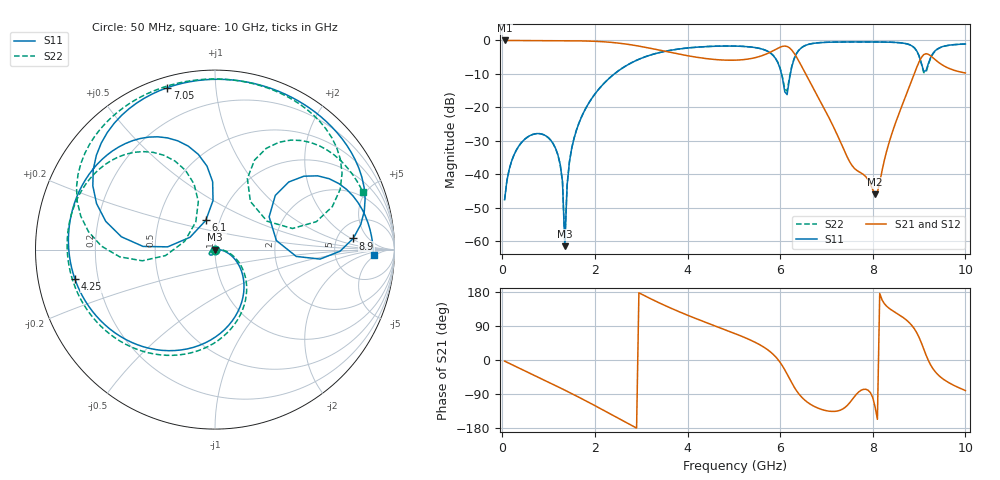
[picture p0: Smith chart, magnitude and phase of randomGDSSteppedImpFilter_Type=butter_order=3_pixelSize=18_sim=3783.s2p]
! freq	dB(S11)	phase(S11)	dB(S12)	phase(S12)
!  dB(S21)	phase(S21)	dB(S22)	phase(S22)
!S-par simulation data
#  GHz  S  DB  R 50
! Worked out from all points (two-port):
!   200 points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, 50 MHz to 10 GHz, reference 50 ohm
!   highest |S21| = -0.01 dB at 50 MHz (marker M1); lowest = -46.0 dB at 8.05 GHz (marker M2)
!   |S21| within 3 dB of the highest: start of sweep to 3.429 GHz; 5.858 GHz to 6.258 GHz (399.8 MHz wide, 6.6 % of centre)
!   lowest |S11| = -61.5 dB at 1.35 GHz (marker M3), VSWR 1.00, Z = 49.9 - j0.00705 ohm
!   |S11| at or under -10 dB: start of sweep to 2.42 GHz; 6.028 GHz to 6.221 GHz (193.8 MHz wide, 3.16 % of centre)
!   |S22| runs from -60.2 to -0.4 dB; largest |S21 - S12| = 0
!   S11 on the Smith chart (normalised r, x): 50 MHz: 1.00, -0.01; 4.25 GHz: 0.11, -0.10; 6.1 GHz: 0.86, +0.29; 7.05 GHz: 0.05, +0.75; 8.9 GHz: 7.11, +2.19; 10 GHz: 15, -4
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0.05  -47.62 -88.0  -0.01 -3.0  -0.01 -3.0  -47.62 -87.9
0.35  -31.71 -110.5  -0.03 -20.5  -0.03 -20.5  -31.72 -110.1
0.95  -28.60 -147.1  -0.07 -55.6  -0.07 -55.6  -28.61 -146.0
1.25  -37.04 -165.4  -0.09 -73.5  -0.09 -73.5  -37.10 -164.9
1.3  -42.14 -168.5  -0.09 -76.5  -0.09 -76.5  -42.26 -169.3
1.35  -61.49 -175.2  -0.09 -79.5  -0.09 -79.5  -60.17 126.3
1.45  -36.28 2.4  -0.10 -85.6  -0.10 -85.6  -36.19 6.3
1.75  -21.71 -16.7  -0.15 -104.4  -0.15 -104.4  -21.68 -13.5
2.55  -8.66 -69.8  -0.86 -156.8  -0.86 -156.8  -8.65 -65.5
3.4  -3.61 -123.5  -2.92 150.1  -2.92 150.1  -3.60 -117.5
4.25  -1.97 -168.1  -5.13 106.0  -5.13 106.0  -1.96 -160.0
5.05  -1.70 154.1  -5.88 68.6  -5.88 68.6  -1.69 164.6
5.75  -3.40 113.0  -3.76 25.3  -3.76 25.3  -3.38 126.3
6.1  -15.35 107.5  -1.68 -26.0  -1.68 -26.0  -14.54 124.8
6.4  -3.00 158.8  -6.08 -88.8  -6.08 -88.8  -2.95 171.9
6.7  -0.91 128.6  -13.87 -120.1  -13.87 -120.1  -0.90 143.5
7.05  -0.53 106.5  -22.99 -134.9  -22.99 -134.9  -0.53 122.9
8.05  -0.45 58.6  -46.02 -124.0  -46.02 -124.0  -0.45 78.4
8.35  -0.52 43.8  -30.63 136.7  -30.63 136.7  -0.52 64.4
8.9  -2.24 4.6  -9.81 82.0  -9.81 82.0  -2.23 25.7
9.2  -6.90 41.9  -4.14 -1.2  -4.14 -1.2  -7.23 65.5
10  -1.07 -2.1  -9.71 -80.6  -9.71 -80.6  -1.07 21.1
